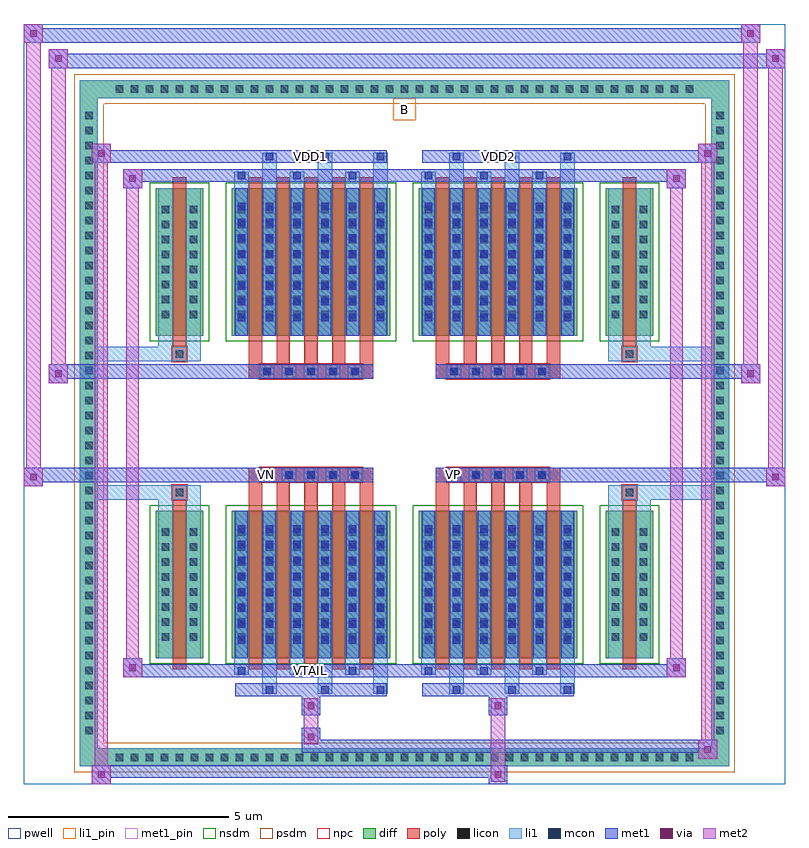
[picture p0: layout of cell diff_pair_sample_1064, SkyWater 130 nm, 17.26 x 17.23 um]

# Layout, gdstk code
import gdstk
lib = gdstk.Library(unit=1e-6, precision=5e-09)
def R(c, l, rs):  # rectangles x0, y0, x1, y1
    for r in rs: c.add(gdstk.rectangle(r[:2], r[2:], *l))
def A(c, l, x, y, w, h, nx, ny, dx, dy):  # array of equal rectangles
    R(c, l, [(x+i*dx, y+j*dy, x+i*dx+w, y+j*dy+h) for i in range(nx) for j in range(ny)])
def P(c, l, *ps):  # polygons
    for p in ps: c.add(gdstk.Polygon(p, *l))
pwell = (64, 44)
diff = (65, 20)
poly = (66, 20)
licon = (66, 44)
li1_pin = (67, 16)
li1 = (67, 20)
mcon = (67, 44)
met1_pin = (68, 16)
met1 = (68, 20)
via = (68, 44)
met2 = (69, 20)
nsdm = (93, 44)
psdm = (94, 20)
npc = (95, 20)

diff_pair_sample_1064 = lib.new_cell('diff_pair_sample_1064')
R(diff_pair_sample_1064, pwell, [(-8.63,-8.18,8.63,9.05), (-5.95,-6.37,-0.01,-0.805), (0.01,-6.37,5.95,-0.805), (-5.95,0.805,-0.01,6.37), (0.01,0.805,5.95,6.37)])
A(diff_pair_sample_1064, diff, -6.665, -7.78, 0.41, 0.41, 39, 2, 0.34, 15.15)
A(diff_pair_sample_1064, diff, -7.36, -7.175, 0.41, 0.41, 1, 42, 0, 0.34)
A(diff_pair_sample_1064, diff, 6.95, -7.175, 0.41, 0.41, 1, 42, 0, 0.34)
R(diff_pair_sample_1064, diff, [(-6.665,-7.78,6.665,-7.37), (-7.36,-7.175,-6.95,7.175), (6.95,-7.175,7.36,7.175), (-5.64,-5.325,-4.56,-1.985), (-3.92,-5.325,-0.32,-1.985), (0.32,-5.325,3.92,-1.985), (4.56,-5.325,5.64,-1.985), (-5.64,1.985,-4.56,5.325), (-3.92,1.985,-0.32,5.325), (0.32,1.985,3.92,5.325), (4.56,1.985,5.64,5.325), (-6.665,7.37,6.665,7.78)])
P(diff_pair_sample_1064, diff, [(7.36,7.78),(-7.36,7.78),(-7.36,-7.37),(-6.95,-7.37),(-6.95,7.37),(6.95,7.37),(6.95,-7.37),(-6.95,-7.37),(-7.36,-7.37),(-7.36,-7.78),(7.36,-7.78)])
A(diff_pair_sample_1064, poly, -3.53, -5.575, 0.3, 3.84, 5, 2, 0.63, 7.31)
A(diff_pair_sample_1064, poly, 0.71, -5.575, 0.3, 3.84, 5, 2, 0.63, 7.31)
A(diff_pair_sample_1064, poly, -3.53, -1.735, 0.3, 0.4, 5, 2, 0.63, 3.07)
A(diff_pair_sample_1064, poly, 0.71, -1.735, 0.3, 0.4, 5, 2, 0.63, 3.07)
A(diff_pair_sample_1064, poly, -3.285, -1.335, 0.33, 0.33, 5, 2, 0.5, 2.34)
A(diff_pair_sample_1064, poly, 0.955, -1.335, 0.33, 0.33, 5, 2, 0.5, 2.34)
R(diff_pair_sample_1064, poly, [(-5.25,-5.575,-4.95,-1.735), (4.95,-5.575,5.25,-1.735), (-5.265,-1.735,-4.935,-1.405), (-5.265,-1.735,-4.935,-1.405), (4.935,-1.735,5.265,-1.405), (4.935,-1.735,5.265,-1.405), (-3.53,-1.335,-0.71,-1.005), (0.71,-1.335,3.53,-1.005), (-3.53,1.005,-0.71,1.335), (0.71,1.005,3.53,1.335), (-5.265,1.405,-4.935,1.735), (-5.265,1.405,-4.935,1.735), (4.935,1.405,5.265,1.735), (4.935,1.405,5.265,1.735), (-5.25,1.735,-4.95,5.575), (4.95,1.735,5.25,5.575)])
A(diff_pair_sample_1064, licon, -6.545, -7.66, 0.17, 0.17, 39, 2, 0.34, 15.15)
A(diff_pair_sample_1064, licon, -7.24, -7.055, 0.17, 0.17, 1, 42, 0, 0.34)
A(diff_pair_sample_1064, licon, 7.07, -7.055, 0.17, 0.17, 1, 42, 0, 0.34)
A(diff_pair_sample_1064, licon, -5.5, -4.93, 0.17, 0.17, 1, 8, 0, 0.34)
A(diff_pair_sample_1064, licon, -4.87, -4.93, 0.17, 0.17, 1, 8, 0, 0.34)
A(diff_pair_sample_1064, licon, -3.78, -4.93, 0.17, 0.17, 6, 8, 0.63, 0.34)
A(diff_pair_sample_1064, licon, 0.46, -4.93, 0.17, 0.17, 6, 8, 0.63, 0.34)
A(diff_pair_sample_1064, licon, 4.7, -4.93, 0.17, 0.17, 1, 8, 0, 0.34)
A(diff_pair_sample_1064, licon, 5.33, -4.93, 0.17, 0.17, 1, 8, 0, 0.34)
A(diff_pair_sample_1064, licon, -3.205, -1.255, 0.17, 0.17, 5, 2, 0.5, 2.34)
A(diff_pair_sample_1064, licon, 1.035, -1.255, 0.17, 0.17, 5, 2, 0.5, 2.34)
A(diff_pair_sample_1064, licon, -5.5, 2.38, 0.17, 0.17, 1, 8, 0, 0.34)
A(diff_pair_sample_1064, licon, -4.87, 2.38, 0.17, 0.17, 1, 8, 0, 0.34)
A(diff_pair_sample_1064, licon, -3.78, 2.38, 0.17, 0.17, 6, 8, 0.63, 0.34)
A(diff_pair_sample_1064, licon, 0.46, 2.38, 0.17, 0.17, 6, 8, 0.63, 0.34)
A(diff_pair_sample_1064, licon, 4.7, 2.38, 0.17, 0.17, 1, 8, 0, 0.34)
A(diff_pair_sample_1064, licon, 5.33, 2.38, 0.17, 0.17, 1, 8, 0, 0.34)
R(diff_pair_sample_1064, licon, [(-5.185,-1.655,-5.015,-1.485), (5.015,-1.655,5.185,-1.485), (-5.185,1.485,-5.015,1.655), (5.015,1.485,5.185,1.655)])
R(diff_pair_sample_1064, li1_pin, [(-0.25,6.87,0.25,7.37)])
A(diff_pair_sample_1064, li1, -6.625, -7.74, 0.33, 0.33, 39, 2, 0.34, 15.15)
A(diff_pair_sample_1064, li1, -7.32, -7.135, 0.33, 0.33, 1, 42, 0, 0.34)
A(diff_pair_sample_1064, li1, 6.99, -7.135, 0.33, 0.33, 1, 42, 0, 0.34)
A(diff_pair_sample_1064, li1, -3.23, -6.13, 0.33, 0.805, 3, 2, 1.26, 11.455)
A(diff_pair_sample_1064, li1, -3.15, -6.13, 0.17, 0.17, 3, 2, 1.26, 12.09)
A(diff_pair_sample_1064, li1, 1.01, -6.13, 0.33, 0.805, 3, 2, 1.26, 11.455)
A(diff_pair_sample_1064, li1, 1.09, -6.13, 0.17, 0.17, 3, 2, 1.26, 12.09)
A(diff_pair_sample_1064, li1, -3.86, -5.7, 0.33, 0.375, 3, 2, 1.26, 11.025)
A(diff_pair_sample_1064, li1, -3.78, -5.7, 0.17, 0.17, 3, 2, 1.26, 11.23)
A(diff_pair_sample_1064, li1, 0.38, -5.7, 0.33, 0.375, 3, 2, 1.26, 11.025)
A(diff_pair_sample_1064, li1, 0.46, -5.7, 0.17, 0.17, 3, 2, 1.26, 11.23)
A(diff_pair_sample_1064, li1, -3.86, -5.325, 0.33, 3.34, 6, 2, 0.63, 7.31)
A(diff_pair_sample_1064, li1, 0.38, -5.325, 0.33, 3.34, 6, 2, 0.63, 7.31)
A(diff_pair_sample_1064, li1, -5.58, -5.01, 0.33, 0.33, 1, 8, 0, 0.34)
A(diff_pair_sample_1064, li1, -4.95, -5.01, 0.33, 0.33, 1, 8, 0, 0.34)
A(diff_pair_sample_1064, li1, -3.86, -5.01, 0.33, 0.33, 6, 8, 0.63, 0.34)
A(diff_pair_sample_1064, li1, 0.38, -5.01, 0.33, 0.33, 6, 8, 0.63, 0.34)
A(diff_pair_sample_1064, li1, 4.62, -5.01, 0.33, 0.33, 1, 8, 0, 0.34)
A(diff_pair_sample_1064, li1, 5.25, -5.01, 0.33, 0.33, 1, 8, 0, 0.34)
A(diff_pair_sample_1064, li1, -3.78, -5, 0.17, 0.17, 6, 8, 0.63, 0.36)
A(diff_pair_sample_1064, li1, -3.78, -5, 0.17, 2.69, 6, 2, 0.63, 7.31)
A(diff_pair_sample_1064, li1, 0.46, -5, 0.17, 0.17, 6, 8, 0.63, 0.36)
A(diff_pair_sample_1064, li1, 0.46, -5, 0.17, 2.69, 6, 2, 0.63, 7.31)
A(diff_pair_sample_1064, li1, -3.285, -1.335, 0.33, 0.33, 5, 2, 0.5, 2.34)
A(diff_pair_sample_1064, li1, 0.955, -1.335, 0.33, 0.33, 5, 2, 0.5, 2.34)
A(diff_pair_sample_1064, li1, -5.58, 2.3, 0.33, 0.33, 1, 8, 0, 0.34)
A(diff_pair_sample_1064, li1, -4.95, 2.3, 0.33, 0.33, 1, 8, 0, 0.34)
A(diff_pair_sample_1064, li1, -3.86, 2.3, 0.33, 0.33, 6, 8, 0.63, 0.34)
A(diff_pair_sample_1064, li1, 0.38, 2.3, 0.33, 0.33, 6, 8, 0.63, 0.34)
A(diff_pair_sample_1064, li1, 4.62, 2.3, 0.33, 0.33, 1, 8, 0, 0.34)
A(diff_pair_sample_1064, li1, 5.25, 2.3, 0.33, 0.33, 1, 8, 0, 0.34)
A(diff_pair_sample_1064, li1, -3.78, 2.31, 0.17, 0.17, 6, 8, 0.63, 0.36)
A(diff_pair_sample_1064, li1, 0.46, 2.31, 0.17, 0.17, 6, 8, 0.63, 0.36)
R(diff_pair_sample_1064, li1, [(-7.36,-7.78,-6.95,-7.37), (-7.36,-7.78,-6.95,-7.37), (-6.95,-7.78,6.95,-7.37), (6.95,-7.78,7.36,-7.37), (6.95,-7.78,7.36,-7.37), (-7.36,-7.37,-6.95,7.37), (6.95,-7.37,7.36,7.37), (-5.58,-5.325,-5.25,-1.985), (-4.95,-5.325,-4.62,-1.985), (4.62,-5.325,4.95,-1.985), (5.25,-5.325,5.58,-1.985), (-5.58,-1.985,-5.25,-1.405), (-4.95,-1.985,-4.62,-1.405), (4.62,-1.985,4.95,-1.405), (5.25,-1.985,5.58,-1.405), (-7.36,-1.735,-5.265,-1.405), (-5.58,-1.735,-5.265,-1.405), (-5.265,-1.735,-4.935,-1.405), (-4.935,-1.735,-4.62,-1.405), (4.62,-1.735,4.935,-1.405), (4.935,-1.735,5.265,-1.405), (4.935,-1.735,7.36,-1.405), (5.265,-1.735,5.58,-1.405), (-7.36,1.405,-5.265,1.735), (-5.58,1.405,-5.265,1.735), (-5.58,1.405,-5.25,1.985), (-5.265,1.405,-4.935,1.735), (-4.95,1.405,-4.62,1.985), (-4.935,1.405,-4.62,1.735), (4.62,1.405,4.935,1.735), (4.62,1.405,4.95,1.985), (4.935,1.405,5.265,1.735), (4.935,1.405,7.36,1.735), (5.25,1.405,5.58,1.985), (5.265,1.405,5.58,1.735), (-5.58,1.985,-5.25,5.325), (-4.95,1.985,-4.62,5.325), (4.62,1.985,4.95,5.325), (5.25,1.985,5.58,5.325), (-7.36,7.37,-6.95,7.78), (-7.36,7.37,-6.95,7.78), (-6.95,7.37,6.95,7.78), (6.95,7.37,7.36,7.78), (6.95,7.37,7.36,7.78)])
A(diff_pair_sample_1064, mcon, -3.15, -6.13, 0.17, 0.17, 3, 2, 1.26, 12.09)
A(diff_pair_sample_1064, mcon, 1.09, -6.13, 0.17, 0.17, 3, 2, 1.26, 12.09)
A(diff_pair_sample_1064, mcon, -3.78, -5.7, 0.17, 0.17, 3, 2, 1.26, 11.23)
A(diff_pair_sample_1064, mcon, 0.46, -5.7, 0.17, 0.17, 3, 2, 1.26, 11.23)
A(diff_pair_sample_1064, mcon, -3.78, -5, 0.17, 0.17, 6, 8, 0.63, 0.36)
A(diff_pair_sample_1064, mcon, 0.46, -5, 0.17, 0.17, 6, 8, 0.63, 0.36)
A(diff_pair_sample_1064, mcon, -3.205, -1.255, 0.17, 0.17, 5, 2, 0.5, 2.34)
A(diff_pair_sample_1064, mcon, 1.035, -1.255, 0.17, 0.17, 5, 2, 0.5, 2.34)
A(diff_pair_sample_1064, mcon, -3.78, 2.31, 0.17, 0.17, 6, 8, 0.63, 0.36)
A(diff_pair_sample_1064, mcon, 0.46, 2.31, 0.17, 0.17, 6, 8, 0.63, 0.36)
R(diff_pair_sample_1064, met1_pin, [(-2.255,-5.74,-1.985,-5.47), (-3.255,-1.295,-2.985,-1.025), (0.985,-1.295,1.255,-1.025), (-2.255,5.92,-1.985,6.19), (1.985,5.92,2.255,6.19)])
A(diff_pair_sample_1064, met1, -3.21, -6.19, 0.29, 0.29, 3, 2, 1.26, 12.09)
A(diff_pair_sample_1064, met1, 1.03, -6.19, 0.29, 0.29, 3, 2, 1.26, 12.09)
A(diff_pair_sample_1064, met1, -3.84, -5.76, 0.29, 0.29, 3, 2, 1.26, 11.23)
A(diff_pair_sample_1064, met1, 0.4, -5.76, 0.29, 0.29, 3, 2, 1.26, 11.23)
A(diff_pair_sample_1064, met1, -3.84, -5.325, 0.29, 3.34, 6, 2, 0.63, 7.31)
A(diff_pair_sample_1064, met1, 0.4, -5.325, 0.29, 3.34, 6, 2, 0.63, 7.31)
A(diff_pair_sample_1064, met1, -3.84, -5.06, 0.29, 0.29, 6, 8, 0.63, 0.36)
A(diff_pair_sample_1064, met1, 0.4, -5.06, 0.29, 0.29, 6, 8, 0.63, 0.36)
A(diff_pair_sample_1064, met1, -3.265, -1.315, 0.29, 0.29, 5, 2, 0.5, 2.34)
A(diff_pair_sample_1064, met1, 0.975, -1.315, 0.29, 0.29, 5, 2, 0.5, 2.34)
A(diff_pair_sample_1064, met1, -3.84, 2.25, 0.29, 0.29, 6, 8, 0.63, 0.36)
A(diff_pair_sample_1064, met1, 0.4, 2.25, 0.29, 0.29, 6, 8, 0.63, 0.36)
R(diff_pair_sample_1064, met1, [(-7.09,-8.18,-6.66,-7.75), (1.905,-8.18,2.335,-7.75), (-7.09,-8.04,2.335,-7.75), (6.66,-7.61,7.09,-7.18), (-2.335,-7.47,7.09,-7.18), (-2.335,-7.33,-1.905,-6.9), (-2.335,-6.62,-1.905,-6.19), (1.905,-6.62,2.335,-6.19), (-3.84,-6.19,-0.4,-5.9), (0.4,-6.19,3.84,-5.9), (-6.38,-5.76,-5.95,-5.33), (-6.38,-5.76,-3.84,-5.47), (-3.84,-5.76,-0.4,-5.47), (-0.4,-5.76,0.4,-5.47), (0.4,-5.76,3.84,-5.47), (3.84,-5.76,6.38,-5.47), (5.95,-5.76,6.38,-5.33), (-8.63,-1.435,-8.2,-1.005), (8.2,-1.435,8.63,-1.005), (-8.63,-1.335,-0.71,-1.005), (-3.53,-1.335,-0.71,-1.005), (0.71,-1.335,3.53,-1.005), (0.71,-1.335,8.63,-1.005), (-8.06,0.905,-7.63,1.335), (7.63,0.905,8.06,1.335), (-8.06,1.005,-3.53,1.335), (-3.53,1.005,-0.71,1.335), (0.71,1.005,3.53,1.335), (3.53,1.005,8.06,1.335), (-6.38,5.33,-5.95,5.76), (5.95,5.33,6.38,5.76), (-6.38,5.47,-3.84,5.76), (-3.84,5.47,-0.4,5.76), (-0.4,5.47,0.4,5.76), (0.4,5.47,3.84,5.76), (3.84,5.47,6.38,5.76), (-7.09,5.9,-6.66,6.33), (-7.09,5.9,-3.84,6.19), (-3.84,5.9,-0.4,6.19), (0.4,5.9,3.84,6.19), (3.84,5.9,7.09,6.19), (6.66,5.9,7.09,6.33), (-8.06,8.05,-7.63,8.48), (-8.06,8.05,-5.95,8.38), (-5.95,8.05,5.95,8.38), (5.95,8.05,8.63,8.38), (8.2,8.05,8.63,8.48), (-8.63,8.62,-8.2,9.05), (-8.63,8.62,-5.95,8.95), (-5.95,8.62,5.95,8.95), (5.95,8.62,8.06,8.95), (7.63,8.62,8.06,9.05)])
R(diff_pair_sample_1064, via, [(-6.95,-8.04,-6.8,-7.89), (2.045,-8.04,2.195,-7.89), (6.8,-7.47,6.95,-7.32), (-2.195,-7.19,-2.045,-7.04), (-2.195,-6.48,-2.045,-6.33), (2.045,-6.48,2.195,-6.33), (-6.24,-5.62,-6.09,-5.47), (6.09,-5.62,6.24,-5.47), (-8.49,-1.295,-8.34,-1.145), (8.34,-1.295,8.49,-1.145), (-7.92,1.045,-7.77,1.195), (7.77,1.045,7.92,1.195), (-6.24,5.47,-6.09,5.62), (6.09,5.47,6.24,5.62), (-6.95,6.04,-6.8,6.19), (6.8,6.04,6.95,6.19), (-7.92,8.19,-7.77,8.34), (8.34,8.19,8.49,8.34), (-8.49,8.76,-8.34,8.91), (7.77,8.76,7.92,8.91)])
R(diff_pair_sample_1064, met2, [(-7.09,-8.18,-6.66,-7.75), (-7.02,-8.18,-6.73,6.33), (-6.73,-8.18,-6.66,-7.75), (-7.04,-8.13,-6.71,-7.8), (1.955,-8.13,2.285,-7.8), (1.955,-7.8,2.285,-6.57), (6.66,-7.61,7.09,-7.18), (6.73,-7.61,7.02,6.33), (7.02,-7.61,7.09,-7.18), (6.71,-7.56,7.04,-7.23), (-2.285,-7.28,-1.955,-6.95), (-2.285,-6.95,-1.955,-6.57), (-2.285,-6.57,-1.955,-6.24), (1.955,-6.57,2.285,-6.24), (-6.38,-5.76,-5.95,-5.33), (-6.31,-5.76,-6.02,5.76), (-6.02,-5.76,-5.95,-5.33), (5.95,-5.76,6.38,-5.33), (6.02,-5.76,6.31,5.76), (6.31,-5.76,6.38,-5.33), (-6.33,-5.71,-6,-5.38), (6,-5.71,6.33,-5.38), (-8.63,-1.435,-8.2,-1.005), (-8.58,-1.435,-8.25,9.05), (-8.25,-1.435,-8.2,-1.005), (8.2,-1.435,8.63,-1.005), (8.25,-1.435,8.58,8.48), (8.58,-1.435,8.63,-1.005), (-8.58,-1.385,-8.25,-1.055), (8.25,-1.385,8.58,-1.055), (-8.06,0.905,-7.63,1.335), (-8.01,0.905,-7.68,8.48), (-7.68,0.905,-7.63,1.335), (7.63,0.905,8.06,1.335), (7.68,0.905,8.01,9.05), (8.01,0.905,8.06,1.335), (-8.01,0.955,-7.68,1.285), (7.68,0.955,8.01,1.285), (-6.38,5.33,-5.95,5.76), (-6.02,5.33,-5.95,5.76), (5.95,5.33,6.38,5.76), (6.31,5.33,6.38,5.76), (-6.33,5.38,-6,5.71), (6,5.38,6.33,5.71), (-7.09,5.9,-6.66,6.33), (-6.73,5.9,-6.66,6.33), (6.66,5.9,7.09,6.33), (7.02,5.9,7.09,6.33), (-7.04,5.95,-6.71,6.28), (6.71,5.95,7.04,6.28), (-8.06,8.05,-7.63,8.48), (-7.68,8.05,-7.63,8.48), (8.2,8.05,8.63,8.48), (8.58,8.05,8.63,8.48), (-8.01,8.1,-7.68,8.43), (8.25,8.1,8.58,8.43), (-8.63,8.62,-8.2,9.05), (-8.25,8.62,-8.2,9.05), (7.63,8.62,8.06,9.05), (8.01,8.62,8.06,9.05), (-8.58,8.67,-8.25,9), (7.68,8.67,8.01,9)])
R(diff_pair_sample_1064, nsdm, [(-5.77,-5.455,-4.43,-1.855), (-4.05,-5.455,-0.19,-1.855), (0.19,-5.455,4.05,-1.855), (4.43,-5.455,5.77,-1.855), (-5.77,1.855,-4.43,5.455), (-4.05,1.855,-0.19,5.455), (0.19,1.855,4.05,5.455), (4.43,1.855,5.77,5.455)])
P(diff_pair_sample_1064, psdm, [(7.49,7.91),(-7.49,7.91),(-7.49,-7.24),(-6.82,-7.24),(-6.82,7.24),(6.82,7.24),(6.82,-7.24),(-6.82,-7.24),(-7.49,-7.24),(-7.49,-7.91),(7.49,-7.91)])
A(diff_pair_sample_1064, npc, -3.305, -1.355, 0.37, 0.37, 5, 2, 0.5, 2.34)
A(diff_pair_sample_1064, npc, 0.935, -1.355, 0.37, 0.37, 5, 2, 0.5, 2.34)
R(diff_pair_sample_1064, npc, [(-5.285,-1.755,-4.915,-1.385), (4.915,-1.755,5.285,-1.385), (-3.305,-1.355,-2.435,-0.985), (-3.305,-1.355,-2.435,-0.985), (-2.805,-1.355,-1.935,-0.985), (-2.805,-1.355,-1.935,-0.985), (-2.305,-1.355,-1.435,-0.985), (-2.305,-1.355,-1.435,-0.985), (-1.805,-1.355,-0.935,-0.985), (-1.805,-1.355,-0.935,-0.985), (0.935,-1.355,1.805,-0.985), (0.935,-1.355,1.805,-0.985), (1.435,-1.355,2.305,-0.985), (1.435,-1.355,2.305,-0.985), (1.935,-1.355,2.805,-0.985), (1.935,-1.355,2.805,-0.985), (2.435,-1.355,3.305,-0.985), (2.435,-1.355,3.305,-0.985), (-3.305,0.985,-2.435,1.355), (-3.305,0.985,-2.435,1.355), (-2.805,0.985,-1.935,1.355), (-2.805,0.985,-1.935,1.355), (-2.305,0.985,-1.435,1.355), (-2.305,0.985,-1.435,1.355), (-1.805,0.985,-0.935,1.355), (-1.805,0.985,-0.935,1.355), (0.935,0.985,1.805,1.355), (0.935,0.985,1.805,1.355), (1.435,0.985,2.305,1.355), (1.435,0.985,2.305,1.355), (1.935,0.985,2.805,1.355), (1.935,0.985,2.805,1.355), (2.435,0.985,3.305,1.355), (2.435,0.985,3.305,1.355), (-5.285,1.385,-4.915,1.755), (4.915,1.385,5.285,1.755)])
diff_pair_sample_1064.add(gdstk.Label('VTAIL', (-2.12,-5.605), layer=68, texttype=5))
diff_pair_sample_1064.add(gdstk.Label('VN', (-3.12,-1.16), layer=68, texttype=5))
diff_pair_sample_1064.add(gdstk.Label('VP', (1.12,-1.16), layer=68, texttype=5))
diff_pair_sample_1064.add(gdstk.Label('B', (0,7.12), layer=67, texttype=5))
diff_pair_sample_1064.add(gdstk.Label('VDD2', (2.12,6.055), layer=68, texttype=5))
diff_pair_sample_1064.add(gdstk.Label('VDD1', (-2.12,6.055), layer=68, texttype=5))

lib.write_gds('diff_pair_sample_1064.gds')
